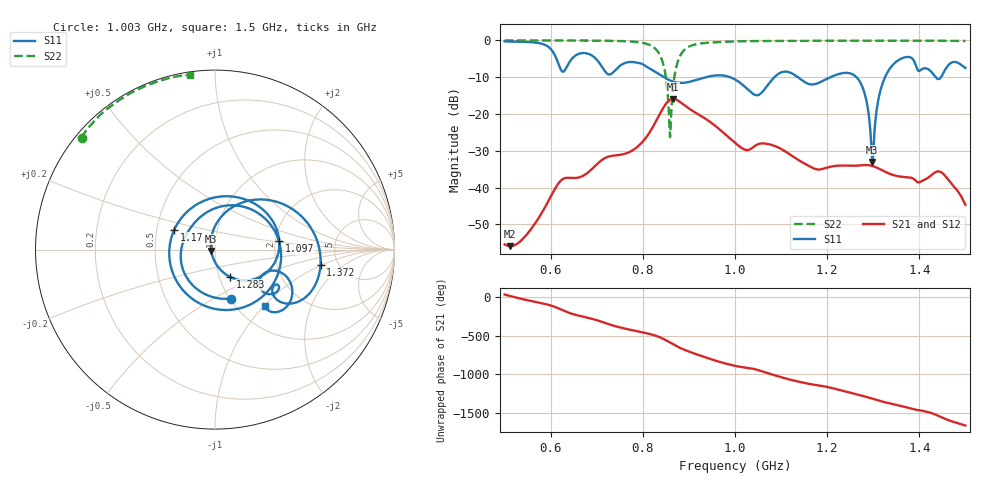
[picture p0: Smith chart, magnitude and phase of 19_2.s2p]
! TOUCHSTONE file generated by CST MICROWAVE STUDIO
! Date and time: Thu Feb 11 19:33:15 2021
! Project name: Scenario_1_Planar_Body_Tissue_Out_of_Line.cst
! Parameters = {L_HA=400; Ltissue=1000; MT=2.54; Rad_Dielectric=30; Rad_Lower=7.3; Rad_Upper=30; Wtissue=1000; a_HA=580; a_WG=246; b_HA=500; b_WG=121; c_HA=0; c_WG=187; d_feed=85; dx1=346; dy1=-34.6; h_feed=15; h_lower=18; h_upper=40; hfat=3; hgap=25; hmuscle=50; hskin=1.5}
! Header version: 2018
! Port assignment regex: !\s*Touchstone port\s*([0-9]+)\s*=\s*(CST MWS port|CST DS port)\s*([0-9]+|Zmin|Zmax)\s*\(\"(.*)\"\)(\s*mode\s*([0-9]+))?.*
! Touchstone port assignment:
! Touchstone port 1 = CST MWS port 1 ("")
! Touchstone port 2 = CST MWS port 2 ("")
# GHz S DB R 50
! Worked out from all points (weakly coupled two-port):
!   1003 points, 500 MHz to 1.5 GHz, reference 50 ohm
!   highest |S21| = -15.90 dB at 866 MHz (marker M1); lowest = -55.9 dB at 512 MHz (marker M2)
!   lowest |S11| = -33.1 dB at 1.298 GHz (marker M3), VSWR 1.05, Z = 47.9 - j0.687 ohm
!   |S11| at or under -10 dB: 845.6 MHz to 936.8 MHz (91.19 MHz wide, 10.2 % of centre); 989.3 MHz to 1.086 GHz (96.18 MHz wide, 9.27 % of centre); 1.136 GHz to 1.207 GHz (70.51 MHz wide, 6.02 % of centre)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
!   |S22| runs from -26.3 to 0.0 dB; largest |S21 - S12| = 3.5e-06
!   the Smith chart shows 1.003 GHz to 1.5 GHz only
!   S11 on the Smith chart (normalised r, x): 1.003 GHz: 1.02, -0.60; 1.097 GHz: 2.09, +0.23; 1.17 GHz: 0.62, +0.15; 1.283 GHz: 1.12, -0.35; 1.372 GHz: 3.65, -0.97; 1.5 GHz: 1.33, -1.02
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0.5  -0.27 -121.5  -55.47 35.1  -55.46 35.1  -0.01 151.1
0.512  -0.30 -126.6  -55.95 16.5  -55.95 16.5  -0.01 150.4
0.667  -3.46 155.6  -37.00 112.1  -37.00 112.1  -0.04 138.4
0.716  -8.06 23.2  -32.11 30.1  -32.11 30.1  -0.09 132.8
0.739  -8.25 -95.0  -31.29 -14.4  -31.29 -14.4  -0.14 129.4
0.767  -5.93 177.4  -30.56 -55.8  -30.56 -55.8  -0.26 123.9
0.834  -9.10 25.7  -20.68 -153.9  -20.68 -153.9  -3.30 85.1
0.858  -10.82 -42.1  -16.22 134.6  -16.22 134.6  -24.27 -5.3
0.866  -11.21 -67.3  -15.90 107.0  -15.90 107.0  -12.25 -138.2
0.935  -10.06 85.6  -21.23 -59.8  -21.23 -59.8  -0.69 152.5
1  -10.62 -64.5  -27.84 -172.1  -27.84 -172.1  -0.27 140.4
1.003  -10.84 -71.8  -28.15 -175.8  -28.15 -175.8  -0.26 140.0
1.097  -8.89 7.6  -29.30 45.8  -29.30 45.8  -0.12 130.0
1.129  -9.35 -80.9  -31.83 -5.4  -31.83 -5.4  -0.11 127.2
1.167  -11.97 163.0  -34.57 -53.0  -34.57 -53.0  -0.10 124.2
1.17  -11.95 153.9  -34.75 -56.0  -34.75 -56.0  -0.10 124.0
1.24  -8.82 15.4  -34.03 -145.4  -34.03 -145.4  -0.08 118.7
1.283  -15.20 -61.2  -33.89 147.6  -33.89 147.6  -0.08 115.4
1.298  -33.07 -161.2  -34.14 120.5  -34.14 120.5  -0.08 114.3
1.334  -8.05 44.7  -36.17 62.5  -36.17 62.5  -0.09 111.6
1.372  -4.52 -8.4  -37.18 9.4  -37.18 9.4  -0.09 108.6
1.5  -7.47 -48.5  -44.74 132.9  -44.74 132.9  -0.14 98.0
